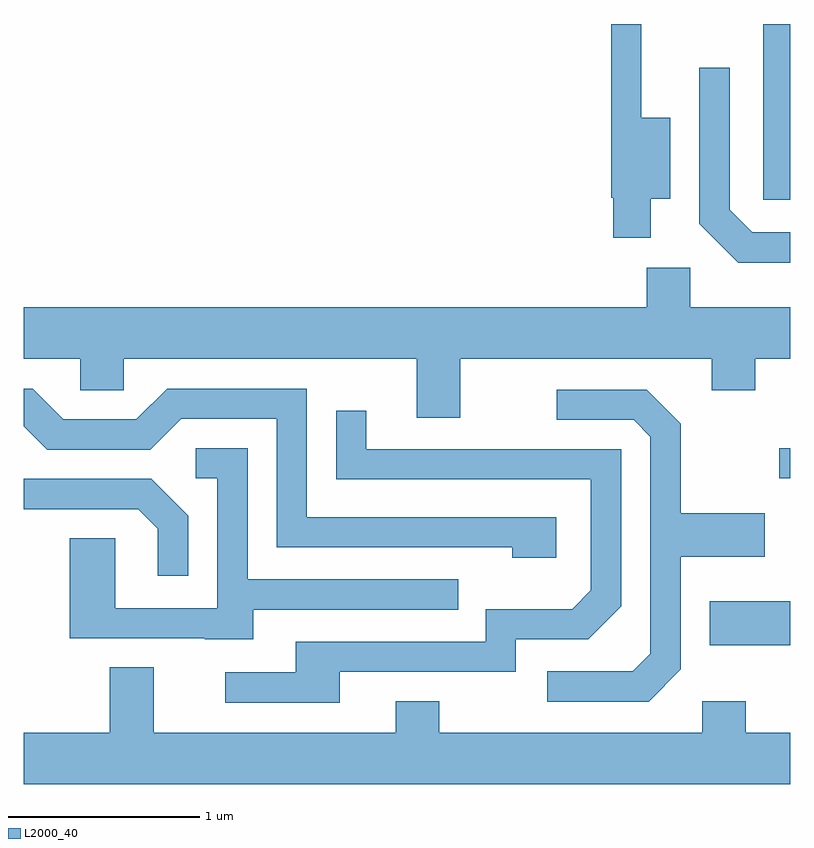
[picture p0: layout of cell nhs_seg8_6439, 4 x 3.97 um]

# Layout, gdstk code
import gdstk
lib = gdstk.Library(unit=1e-6, precision=1e-09)
def R(c, l, rs):  # rectangles x0, y0, x1, y1
    for r in rs: c.add(gdstk.rectangle(r[:2], r[2:], *l))
def P(c, l, *ps):  # polygons
    for p in ps: c.add(gdstk.Polygon(p, *l))
L2000_40 = (2000, 40)

nhs_seg8_6439 = lib.new_cell('nhs_seg8_6439')
R(nhs_seg8_6439, L2000_40, [(381.191,1877.101,381.611,1877.329), (381.553,1877.971,381.611,1878.129), (381.471,1879.426,381.611,1880.342)])
P(nhs_seg8_6439, L2000_40, [(380.884,1879.431),(380.984,1879.431),(380.984,1879.854),(380.834,1879.854),(380.834,1880.342),(380.676,1880.342),(380.676,1879.435),(380.686,1879.435),(380.686,1879.226),(380.884,1879.226)],
  [(381.611,1879.254),(381.412,1879.254),(381.294,1879.372),(381.294,1880.113),(381.136,1880.113),(381.136,1879.299),(381.339,1879.096),(381.611,1879.096)],
  [(379.889,1878.596),(381.201,1878.596),(381.201,1878.431),(381.429,1878.431),(381.429,1878.596),(381.611,1878.596),(381.611,1878.864),(381.089,1878.864),(381.089,1879.069),(380.861,1879.069),(380.861,1878.864),(377.611,1878.864),(377.611,1878.596),(377.906,1878.596),(377.906,1878.431),(378.134,1878.431),(378.134,1878.596),(379.661,1878.596),(379.661,1878.286),(379.889,1878.286)],
  [(380.389,1877.769),(379.089,1877.769),(379.089,1878.439),(378.359,1878.439),(378.199,1878.279),(377.817,1878.279),(377.657,1878.439),(377.611,1878.439),(377.611,1878.244),(377.734,1878.121),(378.272,1878.121),(378.432,1878.281),(378.931,1878.281),(378.931,1877.611),(380.161,1877.611),(380.161,1877.556),(380.389,1877.556)],
  [(381.039,1876.974),(381.039,1877.561),(381.479,1877.561),(381.479,1877.789),(381.039,1877.789),(381.039,1878.257),(380.862,1878.434),(380.393,1878.434),(380.393,1878.276),(380.794,1878.276),(380.881,1878.189),(380.881,1877.057),(380.789,1876.964),(380.343,1876.964),(380.343,1876.806),(380.872,1876.806)],
  [(379.259,1876.961),(380.179,1876.961),(380.179,1877.131),(380.557,1877.131),(380.729,1877.304),(380.729,1878.124),(379.399,1878.124),(379.399,1878.323),(379.241,1878.323),(379.241,1877.966),(380.571,1877.966),(380.571,1877.387),(380.474,1877.289),(380.021,1877.289),(380.021,1877.119),(379.031,1877.119),(379.031,1876.959),(378.663,1876.959),(378.663,1876.801),(379.259,1876.801)],
  [(378.809,1877.286),(379.878,1877.286),(379.878,1877.444),(378.779,1877.444),(378.779,1878.129),(378.508,1878.129),(378.508,1877.971),(378.621,1877.971),(378.621,1877.294),(378.089,1877.294),(378.089,1877.659),(377.851,1877.659),(377.851,1877.136),(378.555,1877.136),(378.555,1877.131),(378.809,1877.131)],
  [(378.469,1877.777),(378.277,1877.969),(377.611,1877.969),(377.611,1877.811),(378.209,1877.811),(378.311,1877.709),(378.311,1877.463),(378.469,1877.463)],
  [(381.611,1876.644),(381.379,1876.644),(381.379,1876.809),(381.151,1876.809),(381.151,1876.644),(379.779,1876.644),(379.779,1876.809),(379.551,1876.809),(379.551,1876.644),(378.289,1876.644),(378.289,1876.984),(378.061,1876.984),(378.061,1876.644),(377.611,1876.644),(377.611,1876.376),(381.611,1876.376)])

lib.write_gds('nhs_seg8_6439.gds')
